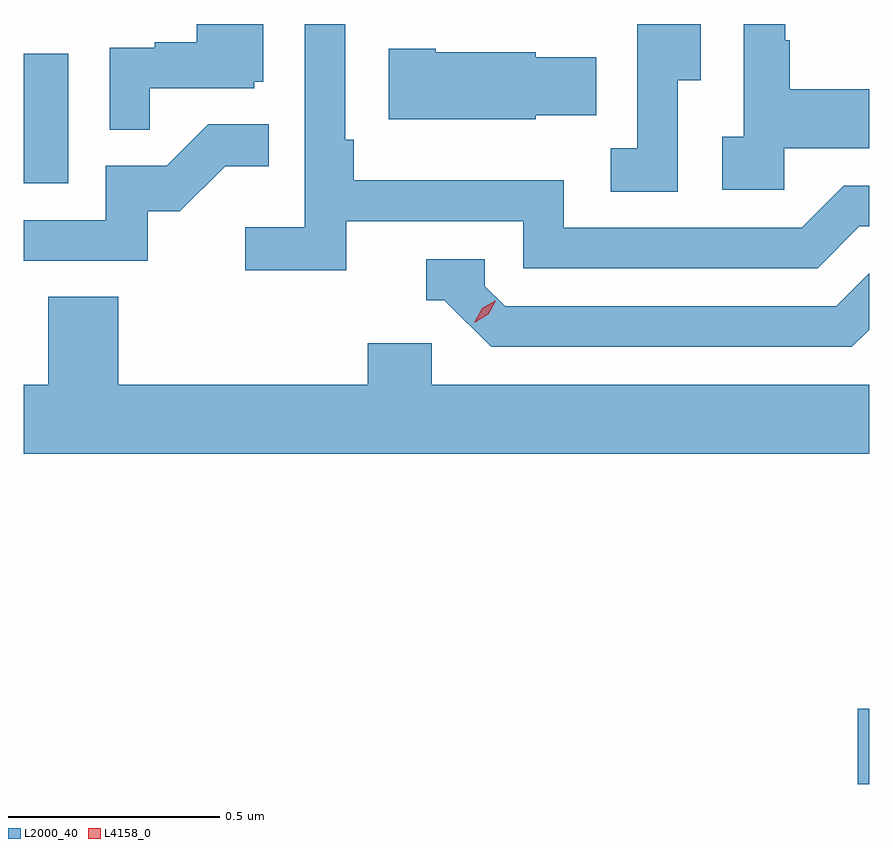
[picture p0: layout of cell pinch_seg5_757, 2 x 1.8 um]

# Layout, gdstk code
import gdstk
lib = gdstk.Library(unit=1e-6, precision=1e-09)
def R(c, l, rs):  # rectangles x0, y0, x1, y1
    for r in rs: c.add(gdstk.rectangle(r[:2], r[2:], *l))
def P(c, l, *ps):  # polygons
    for p in ps: c.add(gdstk.Polygon(p, *l))
L2000_40 = (2000, 40)
L4158_0 = (4158, 0)

pinch_seg5_757 = lib.new_cell('pinch_seg5_757')
R(pinch_seg5_757, L2000_40, [(877.53,894.607,877.557,894.785), (875.557,896.028,875.662,896.335)])
P(pinch_seg5_757, L2000_40, [(876.32,895.938),(876.738,895.938),(876.738,895.827),(877.435,895.827),(877.534,895.926),(877.557,895.926),(877.557,896.022),(877.497,896.022),(877.398,895.923),(876.834,895.923),(876.834,896.035),(876.338,896.035),(876.338,896.131),(876.318,896.131),(876.318,896.405),(876.222,896.405),(876.222,895.924),(876.081,895.924),(876.081,895.822),(876.32,895.822)],
  [(875.855,896.253),(876.102,896.253),(876.102,896.268),(876.124,896.268),(876.124,896.405),(875.966,896.405),(875.966,896.362),(875.867,896.362),(875.867,896.349),(875.76,896.349),(875.76,896.155),(875.855,896.155)],
  [(877.104,896.272),(877.159,896.272),(877.159,896.405),(877.008,896.405),(877.008,896.111),(876.945,896.111),(876.945,896.008),(877.104,896.008)],
  [(877.356,896.111),(877.557,896.111),(877.557,896.251),(877.369,896.251),(877.369,896.366),(877.359,896.366),(877.359,896.405),(877.26,896.405),(877.26,896.138),(877.209,896.138),(877.209,896.013),(877.356,896.013)],
  [(876.768,896.189),(876.911,896.189),(876.911,896.326),(876.768,896.326),(876.768,896.338),(876.532,896.338),(876.532,896.346),(876.42,896.346),(876.42,896.18),(876.768,896.18)],
  [(875.85,895.962),(875.926,895.962),(876.033,896.069),(876.137,896.069),(876.137,896.168),(875.993,896.168),(875.895,896.07),(875.751,896.07),(875.751,895.941),(875.557,895.941),(875.557,895.845),(875.85,895.845)],
  [(877.557,895.682),(877.557,895.815),(877.479,895.737),(876.696,895.737),(876.648,895.785),(876.648,895.848),(876.509,895.848),(876.509,895.752),(876.552,895.752),(876.663,895.641),(877.516,895.641)],
  [(877.557,895.552),(876.522,895.552),(876.522,895.65),(876.371,895.65),(876.371,895.552),(875.78,895.552),(875.78,895.76),(875.615,895.76),(875.615,895.552),(875.557,895.552),(875.557,895.388),(877.557,895.388)])
P(pinch_seg5_757, L4158_0, [(876.624,895.699),(876.624,895.7),(876.641,895.732),(876.672,895.75),(876.673,895.75),(876.673,895.75),(876.656,895.718),(876.625,895.699)])

lib.write_gds('pinch_seg5_757.gds')
